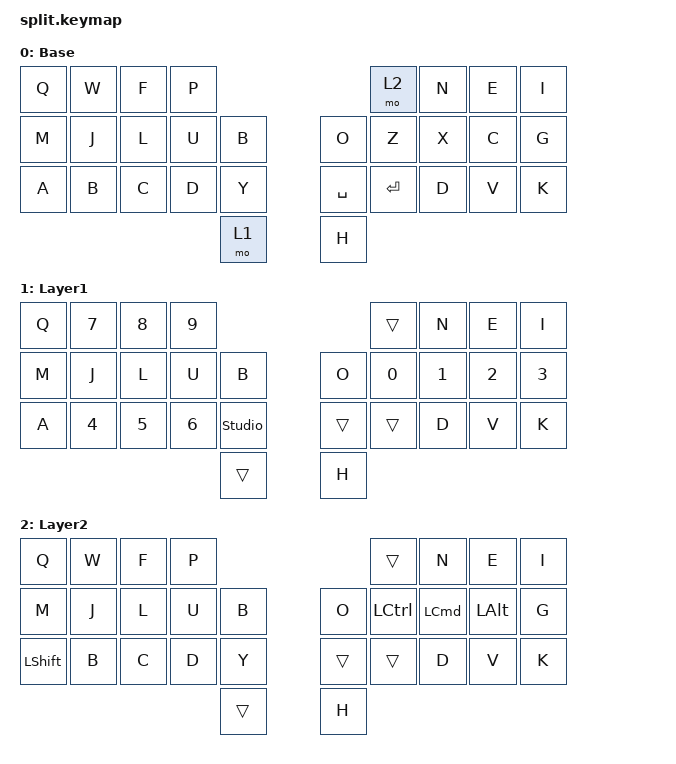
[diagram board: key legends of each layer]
#define ZMK_BEHAVIORS_OMIT_KT

#include <behaviors.dtsi>
#include <dt-bindings/zmk/keys.h>

/ {
    // Define a default keymap here.
    // See https://zmk.dev/docs/development/hardware-integration/new-shield#default-keymap.
    keymap {
        compatible = "zmk,keymap";

/*
*   | Q | W | F | P | B |        | M | J | L | U | Y |
*   | A | R | S | T | fn|        |fn | N | E | I | O |
*   | Z | X | C | G |spc|        |ret| D | V | K | H |
*/

        default_layer {
            display-name = "Base";
            bindings = <
            &kp Q    &kp W    &kp F    &kp P   &kp B             &kp M    &kp J    &kp L    &kp U    &kp Y
            &kp A    &kp B    &kp C    &kp D   &mo 1             &mo 2    &kp N    &kp E    &kp I    &kp O 
            &kp Z    &kp X    &kp C    &kp G   &kp SPACE         &kp RET  &kp D    &kp V    &kp K    &kp H
            >;
        };
        layer1 {
            display-name = "Layer1";
            bindings = <
            &kp Q    &kp N7   &kp N8   &kp N9  &kp B             &kp M    &kp J    &kp L    &kp U    &studio_unlock
            &kp A    &kp N4   &kp N5   &kp N6  &trans            &trans   &kp N    &kp E    &kp I    &kp O 
            &kp N0   &kp N1   &kp N2   &kp N3  &trans            &trans   &kp D    &kp V    &kp K    &kp H
            >;
        };
        layer2 {
            display-name = "Layer2";
            bindings = <
            &kp Q    &kp W    &kp F    &kp P   &kp B             &kp M    &kp J    &kp L    &kp U    &kp Y
            &kp LSHFT &kp B    &kp C    &kp D   &trans            &trans   &kp N    &kp E    &kp I    &kp O 
            &kp LCTRL &kp LCMD &kp LALT &kp G   &trans            &trans   &kp D    &kp V    &kp K    &kp H
            >;
        };
    };
};
